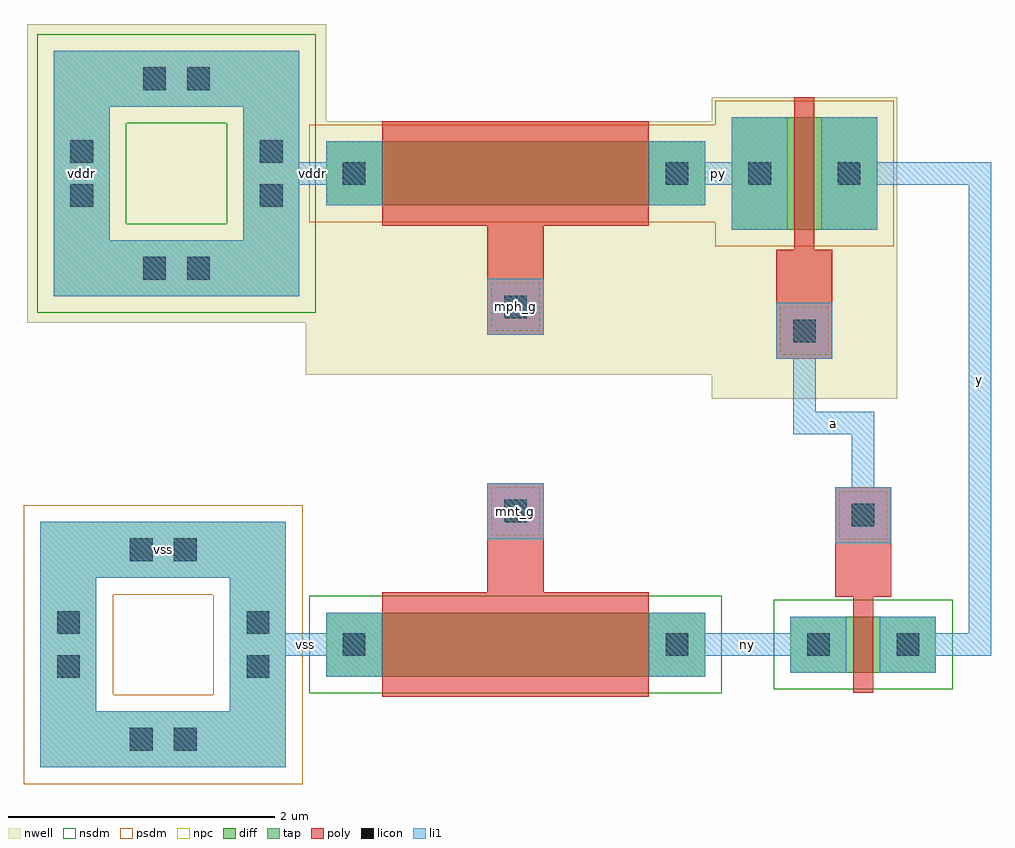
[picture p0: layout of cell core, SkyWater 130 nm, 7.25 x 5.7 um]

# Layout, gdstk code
import gdstk
lib = gdstk.Library(unit=1e-6, precision=1e-09)
def R(c, l, rs):  # rectangles x0, y0, x1, y1
    for r in rs: c.add(gdstk.rectangle(r[:2], r[2:], *l))
def P(c, l, *ps):  # polygons
    for p in ps: c.add(gdstk.Polygon(p, *l))
nwell = (64, 20)
diff = (65, 20)
tap = (65, 44)
poly = (66, 20)
licon = (66, 44)
li1 = (67, 20)
nsdm = (93, 44)
psdm = (94, 20)
npc = (95, 20)

mos_array = lib.new_cell('mos_array')
R(mos_array, diff, [(0,0,2.84,0.48)])
R(mos_array, poly, [(0.42,-0.15,2.42,0.48), (0.42,0.48,2.42,0.63), (0.42,0.48,2.42,0.63), (1.21,0.63,1.63,1.45)])
R(mos_array, licon, [(0.125,0.155,0.295,0.325), (2.545,0.155,2.715,0.325), (1.335,1.155,1.505,1.325)])
R(mos_array, li1, [(0,0,0.42,0.48), (2.42,0,2.84,0.48), (1.21,1.03,1.63,1.45)])
R(mos_array, nsdm, [(-0.125,-0.125,2.965,0.605)])
R(mos_array, npc, [(1.24,1.06,1.6,1.42)])

mnt__mnt = lib.new_cell('mnt__mnt')
mnt__mnt.add(gdstk.Reference(mos_array, (0,0)))

guard_ring = lib.new_cell('guard_ring')
P(guard_ring, tap, [(0,0),(0,1.42),(0.42,1.42),(0.42,0.42),(1.42,0.42),(1.42,1.42),(0,1.42),(0,1.84),(1.84,1.84),(1.84,0)])
R(guard_ring, licon, [(0.67,0.125,0.84,0.295), (1,0.125,1.17,0.295), (0.125,0.67,0.295,0.84), (1.545,0.67,1.715,0.84), (0.125,1,0.295,1.17), (1.545,1,1.715,1.17), (0.67,1.545,0.84,1.715), (1,1.545,1.17,1.715)])
P(guard_ring, li1, [(0,0),(0,1.42),(0.42,1.42),(0.42,0.42),(1.42,0.42),(1.42,1.42),(0,1.42),(0,1.84),(1.84,1.84),(1.84,0)])
P(guard_ring, psdm, [(-0.125,-0.125),(-0.125,1.295),(0.545,1.295),(0.545,0.545),(1.295,0.545),(1.295,1.295),(-0.125,1.295),(-0.125,1.965),(1.965,1.965),(1.965,-0.125)])

psub_tap__psub_tap = lib.new_cell('psub_tap__psub_tap')
psub_tap__psub_tap.add(gdstk.Reference(guard_ring, (0,0)))

mos_array_1 = lib.new_cell('mos_array$1')
R(mos_array_1, diff, [(0,0,1.09,0.42)])
R(mos_array_1, poly, [(0.47,-0.15,0.62,0.42), (0.47,0.42,0.62,0.57), (0.47,0.42,0.62,0.57), (0.335,0.57,0.755,1.39)])
R(mos_array_1, licon, [(0.125,0.125,0.295,0.295), (0.795,0.125,0.965,0.295), (0.46,1.095,0.63,1.265)])
R(mos_array_1, li1, [(0,0,0.42,0.42), (0.67,0,1.09,0.42), (0.335,0.97,0.755,1.39)])
R(mos_array_1, nsdm, [(-0.125,-0.125,1.215,0.545)])
R(mos_array_1, npc, [(0.365,1,0.725,1.36)])

mn__mn = lib.new_cell('mn__mn')
mn__mn.add(gdstk.Reference(mos_array_1, (0,0)))

mos_array_2 = lib.new_cell('mos_array$2')
R(mos_array_2, nwell, [(-0.15,-0.15,2.99,1.75)])
R(mos_array_2, diff, [(0,0,2.84,0.48)])
R(mos_array_2, poly, [(0.42,-0.15,2.42,0.48), (0.42,0.48,2.42,0.63), (0.42,0.48,2.42,0.63), (1.21,0.63,1.63,1.45)])
R(mos_array_2, licon, [(0.125,0.155,0.295,0.325), (2.545,0.155,2.715,0.325), (1.335,1.155,1.505,1.325)])
R(mos_array_2, li1, [(0,0,0.42,0.48), (2.42,0,2.84,0.48), (1.21,1.03,1.63,1.45)])
R(mos_array_2, psdm, [(-0.125,-0.125,2.965,0.605)])
R(mos_array_2, npc, [(1.24,1.06,1.6,1.42)])

mph__mph = lib.new_cell('mph__mph')
mph__mph.add(gdstk.Reference(mos_array_2, (0,0)))

guard_ring_1 = lib.new_cell('guard_ring$1')
R(guard_ring_1, nwell, [(-0.2,-0.2,2.04,2.04)])
P(guard_ring_1, tap, [(0,0),(0,1.42),(0.42,1.42),(0.42,0.42),(1.42,0.42),(1.42,1.42),(0,1.42),(0,1.84),(1.84,1.84),(1.84,0)])
R(guard_ring_1, licon, [(0.67,0.125,0.84,0.295), (1,0.125,1.17,0.295), (0.125,0.67,0.295,0.84), (1.545,0.67,1.715,0.84), (0.125,1,0.295,1.17), (1.545,1,1.715,1.17), (0.67,1.545,0.84,1.715), (1,1.545,1.17,1.715)])
P(guard_ring_1, li1, [(0,0),(0,1.42),(0.42,1.42),(0.42,0.42),(1.42,0.42),(1.42,1.42),(0,1.42),(0,1.84),(1.84,1.84),(1.84,0)])
P(guard_ring_1, nsdm, [(-0.125,-0.125),(-0.125,1.295),(0.545,1.295),(0.545,0.545),(1.295,0.545),(1.295,1.295),(-0.125,1.295),(-0.125,1.965),(1.965,1.965),(1.965,-0.125)])

nwell_tap__nwell_tap = lib.new_cell('nwell_tap__nwell_tap')
nwell_tap__nwell_tap.add(gdstk.Reference(guard_ring_1, (0,0)))

mos_array_3 = lib.new_cell('mos_array$3')
R(mos_array_3, nwell, [(-0.15,-0.15,1.24,2.11)])
R(mos_array_3, diff, [(0,0,1.09,0.84)])
R(mos_array_3, poly, [(0.47,-0.15,0.62,0.84), (0.47,0.84,0.62,0.99), (0.47,0.84,0.62,0.99), (0.335,0.99,0.755,1.81)])
R(mos_array_3, licon, [(0.125,0.335,0.295,0.505), (0.795,0.335,0.965,0.505), (0.46,1.515,0.63,1.685)])
R(mos_array_3, li1, [(0,0,0.42,0.84), (0.67,0,1.09,0.84), (0.335,1.39,0.755,1.81)])
R(mos_array_3, psdm, [(-0.125,-0.125,1.215,0.965)])
R(mos_array_3, npc, [(0.365,1.42,0.725,1.78)])

mp__mp = lib.new_cell('mp__mp')
mp__mp.add(gdstk.Reference(mos_array_3, (0,0)))

core = lib.new_cell('core')
R(core, li1, [(3.815,1.18,4.235,1.35), (3.375,2.39,3.795,2.56)])
core.add(gdstk.FlexPath([(3.585,2.56),(3.585,1.87),(4.025,1.87),(4.025,1.18)], 0.17, ends="flush", simple_path=True, layer=67, datatype=20))  # li1
core.add(gdstk.FlexPath([(3.92,3.74),(4.9,3.74),(4.9,0.21),(4.36,0.21)], 0.17, ends="flush", simple_path=True, layer=67, datatype=20))  # li1
core.add(gdstk.FlexPath([(2.63,3.74),(3.25,3.74)], 0.17, ends="flush", simple_path=True, layer=67, datatype=20))  # li1
core.add(gdstk.FlexPath([(2.63,0.21),(3.69,0.21)], 0.17, ends="flush", simple_path=True, layer=67, datatype=20))  # li1
core.add(gdstk.FlexPath([(0.21,3.74),(-0.41,3.74)], 0.17, ends="flush", simple_path=True, layer=67, datatype=20))  # li1
core.add(gdstk.FlexPath([(0.21,0.21),(-0.51,0.21)], 0.17, ends="flush", simple_path=True, layer=67, datatype=20))  # li1
core.add(gdstk.Reference(mnt__mnt, (0,-0.03)))
core.add(gdstk.Reference(psub_tap__psub_tap, (-2.14,-0.71)))
core.add(gdstk.Reference(mn__mn, (3.48,0)))
core.add(gdstk.Reference(mph__mph, (0,3.98), x_reflection=True))
core.add(gdstk.Reference(nwell_tap__nwell_tap, (-2.04,2.82)))
core.add(gdstk.Reference(mp__mp, (3.04,4.16), x_reflection=True))
core.add(gdstk.Label('a', (3.805,1.87), layer=67, texttype=5))
core.add(gdstk.Label('y', (4.9,2.195), layer=67, texttype=5))
core.add(gdstk.Label('py', (2.94,3.74), layer=67, texttype=5))
core.add(gdstk.Label('ny', (3.16,0.21), layer=67, texttype=5))
core.add(gdstk.Label('vddr', (-0.1,3.74), layer=67, texttype=5))
core.add(gdstk.Label('vss', (-0.15,0.21), layer=67, texttype=5))
core.add(gdstk.Label('vddr', (-1.83,3.74), layer=67, texttype=5))
core.add(gdstk.Label('vss', (-1.22,0.92), layer=67, texttype=5))
core.add(gdstk.Label('mph_g', (1.42,2.74), layer=67, texttype=5))
core.add(gdstk.Label('mnt_g', (1.42,1.21), layer=67, texttype=5))

lib.write_gds('core.gds')
